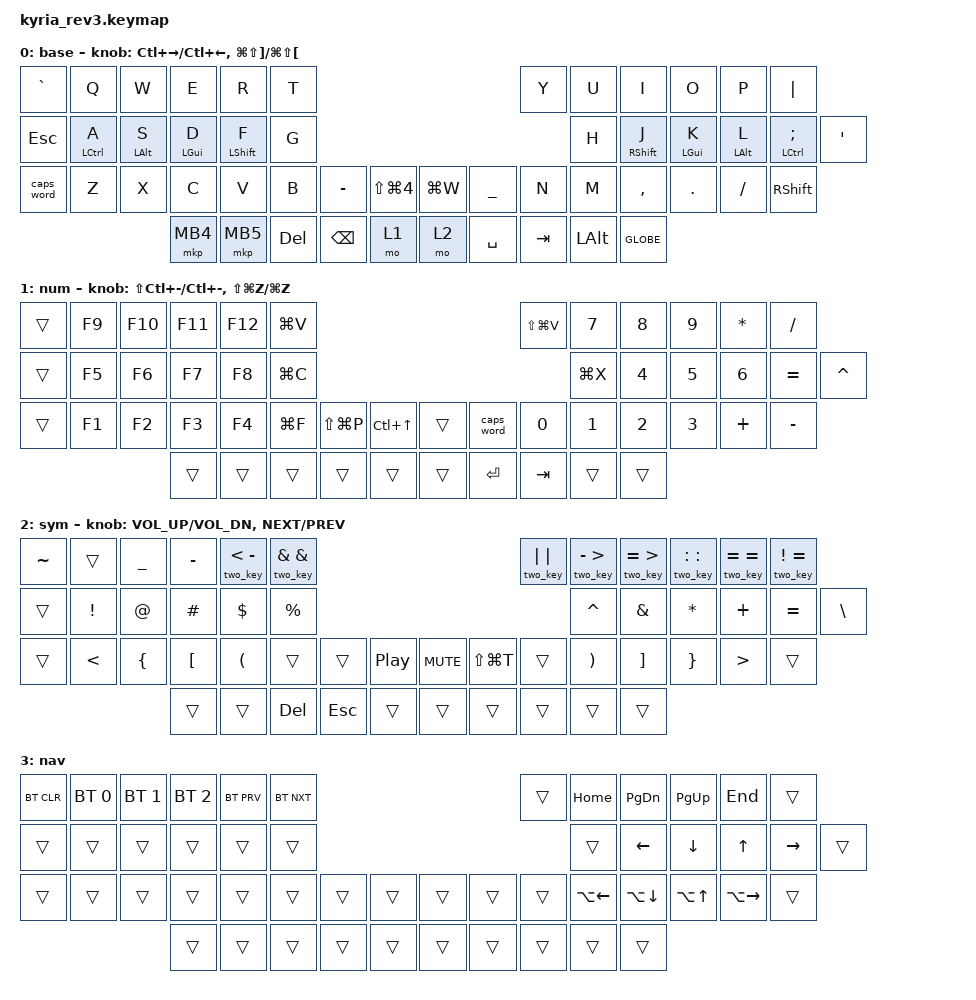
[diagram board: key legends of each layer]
#include <behaviors.dtsi>
#include <dt-bindings/zmk/bt.h>
#include <dt-bindings/zmk/keys.h>
#include <dt-bindings/zmk/mouse.h>
#include "keypos_kyria.h"
#include "hrm.h"

MAKE_HRM(hml, KEYS_R KEYS_T)  // left-hand HRMs
MAKE_HRM(hmr, KEYS_L KEYS_T)  // right-hand HRMs

&sensors {
    triggers-per-rotation = <30>;
};

/ {
    macros {
        two_key: two_key {
            // ...
            compatible = "zmk,behavior-macro-two-param";
            #binding-cells = <2>;
            bindings
              = <&macro_param_1to1>
              , <&kp MACRO_PLACEHOLDER>
              , <&macro_param_2to1>
              , <&kp MACRO_PLACEHOLDER>
              ;
        };
    };

    keymap {
        compatible = "zmk,keymap";

        base {
            bindings = <
&kp GRAVE   &kp Q  &kp W  &kp E        &kp R        &kp T                                                                   &kp Y    &kp U     &kp I         &kp O        &kp P        &kp PIPE
&kp ESCAPE  &hml LCTRL A  &hml LALT S  &hml LGUI D  &hml LSHFT F  &kp G                                                              &kp H     &hmr RSHFT J  &hmr LGUI K  &hmr LALT L  &hmr LCTL SEMI  &kp SINGLE_QUOTE
&caps_word  &kp Z  &kp X  &kp C        &kp V        &kp B         &kp MINUS      &kp LS(LG(N4))  &kp LG(W)  &kp UNDERSCORE  &kp N    &kp M     &kp COMMA     &kp DOT      &kp FSLH     &kp RIGHT_SHIFT
                          &mkp MB4     &mkp MB5     &kp DEL       &kp BACKSPACE  &mo 1           &mo 2      &kp SPACE       &kp TAB  &kp LALT  &kp GLOBE
            >;

            sensor-bindings =
                <&inc_dec_kp LC(RIGHT) LC(LEFT)>,
                <&inc_dec_kp LG(LS(RIGHT_BRACKET)) LG(LS(LEFT_BRACKET))>;
        };

        num {
            bindings = <
&trans  &kp F9  &kp F10  &kp F11  &kp F12  &kp LG(V)                                                       &kp LS(LG(V))  &kp N7  &kp N8  &kp N9  &kp ASTERISK  &kp FSLH
&trans  &kp F5  &kp F6   &kp F7   &kp F8   &kp LG(C)                                                       &kp LG(X)       &kp N4  &kp N5  &kp N6  &kp EQUAL     &kp CARET
&trans  &kp F1  &kp F2   &kp F3   &kp F4   &kp LG(F)  &kp LS(LG(P))  &kp LC(UP_ARROW)  &trans  &caps_word  &kp N0          &kp N1  &kp N2  &kp N3  &kp PLUS      &kp MINUS
                         &trans   &trans   &trans     &trans         &trans            &trans  &kp ENTER   &kp TAB         &trans  &trans
            >;

            sensor-bindings =
                <&inc_dec_kp LS(LC(MINUS)) LC(MINUS)>,
                <&inc_dec_kp LS(LG(Z)) LG(Z)>;
        };

        sym {
            bindings = <
&kp TILDE  &trans    &kp UNDERSCORE  &kp MINUS         &two_key LT MINUS     &two_key AMPERSAND AMPERSAND                                                                &two_key PIPE PIPE  &two_key MINUS GT      &two_key EQUAL GT  &two_key COLON COLON  &two_key EQUAL EQUAL  &two_key EXCLAMATION EQUAL
&trans     &kp EXCL  &kp AT_SIGN     &kp HASH          &kp DOLLAR            &kp PERCENT                                                                                 &kp CARET           &kp AMPERSAND          &kp ASTERISK       &kp PLUS              &kp EQUAL             &kp BACKSLASH
&trans     &kp LT    &kp LEFT_BRACE  &kp LEFT_BRACKET  &kp LEFT_PARENTHESIS  &trans                        &trans      &kp C_PLAY_PAUSE  &kp K_MUTE  &kp LS(LG(T))       &trans              &kp RIGHT_PARENTHESIS  &kp RIGHT_BRACKET  &kp RIGHT_BRACE       &kp GREATER_THAN      &trans
                                     &trans            &trans                &kp DELETE                    &kp ESCAPE  &trans            &trans      &trans              &trans              &trans                 &trans
            >;

            sensor-bindings =
                <&inc_dec_kp C_VOLUME_UP C_VOL_DN>,
                <&inc_dec_kp C_NEXT C_PREV>;
        };

        nav {
            bindings = <
&bt BT_CLR  &bt BT_SEL 0  &bt BT_SEL 1  &bt BT_SEL 2  &bt BT_PRV  &bt BT_NXT                                      &trans  &kp HOME      &kp PAGE_DOWN  &kp PAGE_UP  &kp END        &trans
&trans      &trans        &trans        &trans        &trans      &trans                                          &trans  &kp LEFT      &kp DOWN       &kp UP       &kp RIGHT      &trans
&trans      &trans        &trans        &trans        &trans      &trans      &trans  &trans  &trans  &trans      &trans  &kp LA(LEFT)  &kp LA(DOWN)   &kp LA(UP)   &kp LA(RIGHT)  &trans
                                        &trans        &trans      &trans      &trans  &trans  &trans  &trans      &trans  &trans        &trans
            >;
        };
    };

    conditional_layers {
        compatible = "zmk,conditional-layers";

        tri {
            if-layers = <1 2>;
            then-layer = <3>;
        };
    };
};
